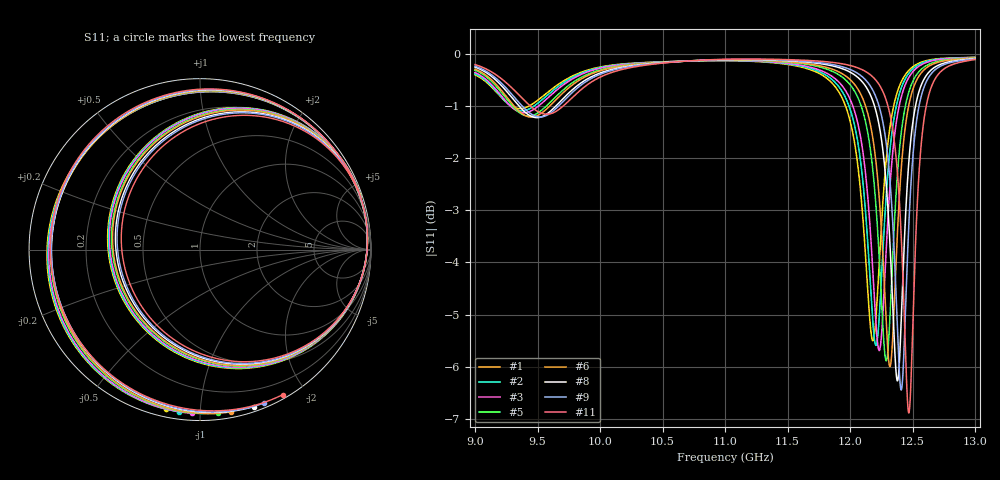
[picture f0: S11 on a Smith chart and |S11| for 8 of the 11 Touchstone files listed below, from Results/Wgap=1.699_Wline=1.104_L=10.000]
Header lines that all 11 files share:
! TOUCHSTONE file generated by CST DESIGN STUDIO
! Project name: C:\Work\MatlabApps\UnitCellOptimizationMatlab\CST\unitcell.cst
! Tree item: Tasks\Sweep1\SPara1\S-Parameters
! Header version: 2024
! Port assignment regex: !\s*Touchstone port\s*([0-9]+)\s*=\s*(CST MWS port|CST DES external port|CST DES block port)\s*(.+)\s* \(\"(.*)\"\)(\s*mode\s*([0-9]+))?.*
! Touchstone port assignment:
! Touchstone port 1 = CST DES external port 1 ("")
# GHz S MA R 50
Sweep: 9 GHz to 13 GHz
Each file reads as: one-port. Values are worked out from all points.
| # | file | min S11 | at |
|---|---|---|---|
| 1 | DS_for_MWS-run-0001.s1p | -5.5 dB | 12.18 GHz |
| 2 | DS_for_MWS-run-0002.s1p | -5.6 dB | 12.21 GHz |
| 3 | DS_for_MWS-run-0003.s1p | -5.7 dB | 12.23 GHz |
| 4 | DS_for_MWS-run-0004.s1p | -5.8 dB | 12.26 GHz |
| 5 | DS_for_MWS-run-0005.s1p | -5.9 dB | 12.29 GHz |
| 6 | DS_for_MWS-run-0006.s1p | -6.0 dB | 12.32 GHz |
| 7 | DS_for_MWS-run-0007.s1p | -6.1 dB | 12.35 GHz |
| 8 | DS_for_MWS-run-0008.s1p | -6.3 dB | 12.38 GHz |
| 9 | DS_for_MWS-run-0009.s1p | -6.4 dB | 12.41 GHz |
| 10 | DS_for_MWS-run-0010.s1p | -6.6 dB | 12.44 GHz |
| 11 | DS_for_MWS-run-0011.s1p | -6.9 dB | 12.47 GHz |
